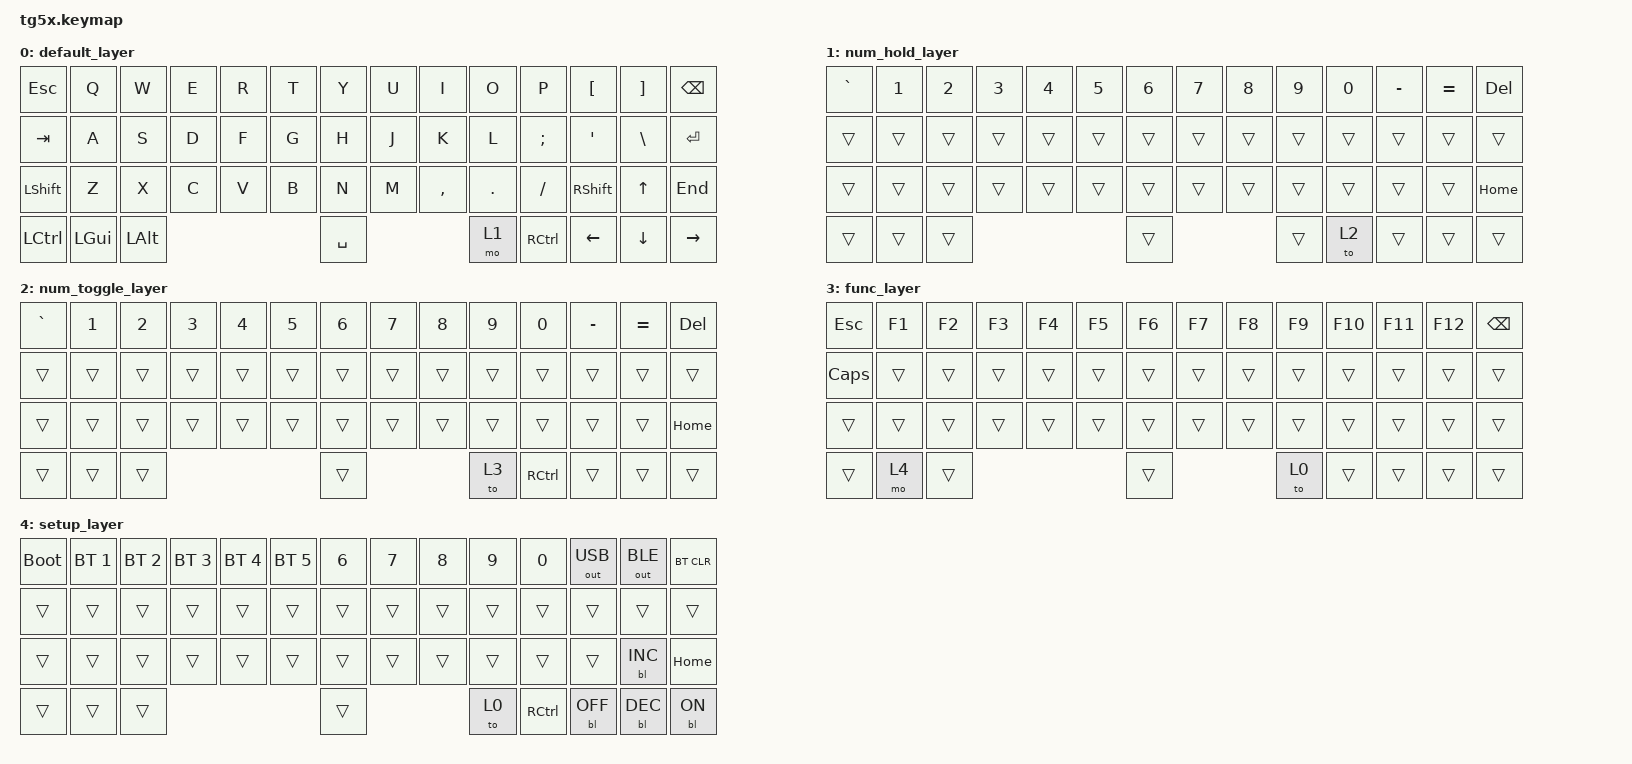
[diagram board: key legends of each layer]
/*
 * SPDX-License-Identifier: MIT
 */

#include <behaviors.dtsi>
#include <dt-bindings/zmk/keys.h>
#include <dt-bindings/zmk/bt.h>
#include <dt-bindings/zmk/outputs.h>
#include <dt-bindings/zmk/backlight.h>

/ {

    keymap {
        compatible = "zmk,keymap";

        default_layer {
            bindings = <
&kp ESC      &kp Q    &kp W    &kp E       &kp R &kp T &kp Y &kp U    &kp I     &kp O    &kp P     &kp LBKT  &kp RBKT &kp BSPC
&kp TAB      &kp A    &kp S    &kp D       &kp F &kp G &kp H &kp J    &kp K     &kp L    &kp SEMI  &kp APOS  &kp BSLH &kp ENTER
&kp LSHFT    &kp Z    &kp X    &kp C       &kp V &kp B &kp N &kp M    &kp COMMA &kp DOT  &kp SLASH &kp RSHFT &kp UP   &kp END
&kp LCTRL    &kp LGUI &kp LALT                         &kp SPACE                &mo 1    &kp RCTRL &kp LEFT  &kp DOWN &kp RIGHT
            >;
        };

        num_hold_layer {
            bindings = <
&kp GRAVE &kp N1   &kp N2    &kp N3 &kp N4 &kp N5 &kp N6   &kp N7   &kp N8    &kp N9    &kp N0   &kp MINUS  &kp EQUAL &kp DEL
&trans    &trans   &trans    &trans &trans &trans &trans   &trans   &trans    &trans    &trans   &trans     &trans    &trans
&trans    &trans   &trans    &trans &trans &trans &trans   &trans   &trans    &trans    &trans   &trans     &trans    &kp HOME
&trans    &trans   &trans                         &trans                      &trans    &to 2    &trans     &trans    &trans
            >;
        };

        num_toggle_layer {
            bindings = <
&kp GRAVE &kp N1   &kp N2    &kp N3 &kp N4 &kp N5 &kp N6   &kp N7   &kp N8    &kp N9    &kp N0    &kp MINUS  &kp EQUAL &kp DEL
&trans    &trans   &trans    &trans &trans &trans &trans   &trans   &trans    &trans    &trans    &trans     &trans    &trans
&trans    &trans    &trans     &trans &trans &trans &trans   &trans   &trans  &trans    &trans    &trans     &trans    &kp HOME
&trans    &trans   &trans                         &trans                      &to 3     &kp RCTRL &trans     &trans    &trans
            >;
        };

        func_layer {
            bindings = <
&kp ESC   &kp F1   &kp F2    &kp F3 &kp F4 &kp F5 &kp F6   &kp F7   &kp F8    &kp F9    &kp F10  &kp F11    &kp F12   &kp BSPC
&kp CAPS  &trans   &trans    &trans &trans &trans &trans   &trans   &trans    &trans    &trans   &trans     &trans    &trans
&trans    &trans    &trans   &trans &trans &trans &trans   &trans   &trans    &trans    &trans   &trans     &trans    &trans
&trans    &mo 4    &trans                         &trans                      &to 0     &trans   &trans     &trans    &trans
            >;
        };

        setup_layer {
            bindings = <
&bootloader &bt BT_SEL 1 &bt BT_SEL 2 &bt BT_SEL 3 &bt BT_SEL 4 &bt BT_SEL 5 &kp N6   &kp N7   &kp N8    &kp N9    &kp N0    &out OUT_USB &out OUT_BLE &bt BT_CLR
&trans      &trans       &trans       &trans       &trans       &trans       &trans   &trans   &trans    &trans    &trans    &trans       &trans       &trans
&trans      &trans       &trans       &trans       &trans       &trans       &trans   &trans   &trans    &trans    &trans    &trans       &bl BL_INC   &kp HOME
&trans      &trans       &trans                                              &trans                      &to 0     &kp RCTRL &bl BL_OFF   &bl BL_DEC   &bl BL_ON
            >;
        };

    };
};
